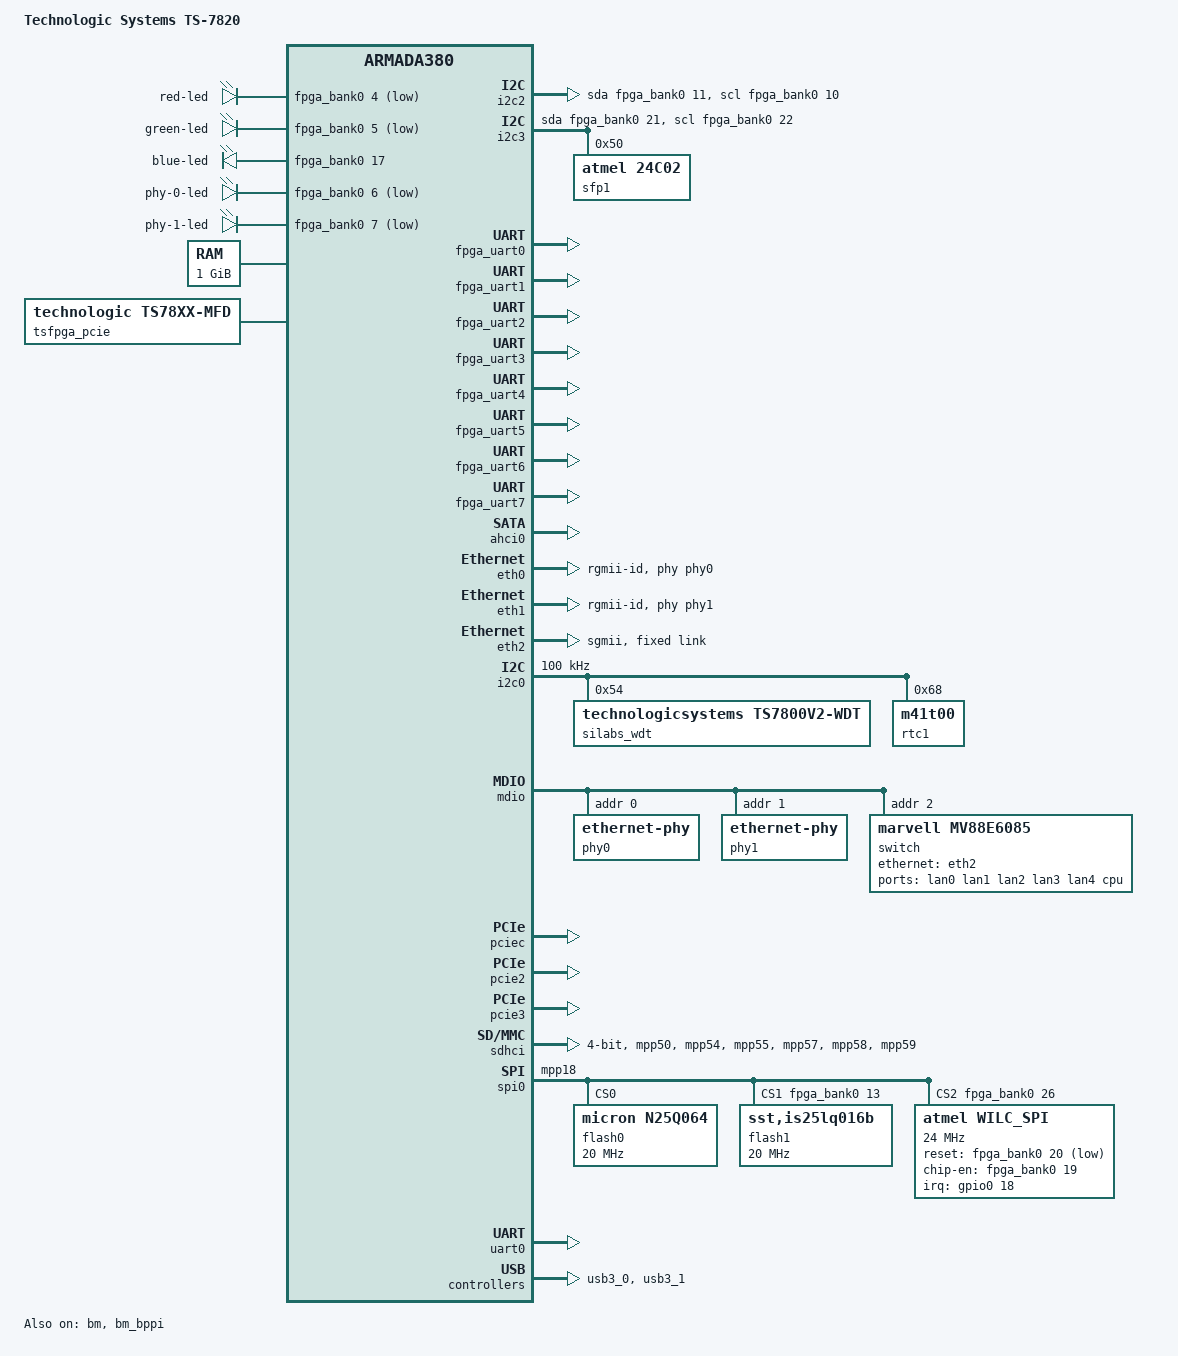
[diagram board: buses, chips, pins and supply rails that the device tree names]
/*
 * Device Tree file for Technologic Systems TS-7820
 *
 *  Copyright (C) 2017 Technologic Systems
 *
 * Mark Featherston <mark@embeddedarm.com>
 *
 * This file is dual-licensed: you can use it either under the terms
 * of the GPL or the X11 license, at your option. Note that this dual
 * licensing only applies to this file, and not this project as a
 * whole.
 *
 *  a) This file is licensed under the terms of the GNU General Public
 *     License version 2.  This program is licensed "as is" without
 *     any warranty of any kind, whether express or implied.
 *
 * Or, alternatively,
 *
 *  b) Permission is hereby granted, free of charge, to any person
 *     obtaining a copy of this software and associated documentation
 *     files (the "Software"), to deal in the Software without
 *     restriction, including without limitation the rights to use,
 *     copy, modify, merge, publish, distribute, sublicense, and/or
 *     sell copies of the Software, and to permit persons to whom the
 *     Software is furnished to do so, subject to the following
 *     conditions:
 *
 *     The above copyright notice and this permission notice shall be
 *     included in all copies or substantial portions of the Software.
 *
 *     THE SOFTWARE IS PROVIDED "AS IS", WITHOUT WARRANTY OF ANY KIND,
 *     EXPRESS OR IMPLIED, INCLUDING BUT NOT LIMITED TO THE WARRANTIES
 *     OF MERCHANTABILITY, FITNESS FOR A PARTICULAR PURPOSE AND
 *     NONINFRINGEMENT. IN NO EVENT SHALL THE AUTHORS OR COPYRIGHT
 *     HOLDERS BE LIABLE FOR ANY CLAIM, DAMAGES OR OTHER LIABILITY,
 *     WHETHER IN AN ACTION OF CONTRACT, TORT OR OTHERWISE, ARISING
 *     FROM, OUT OF OR IN CONNECTION WITH THE SOFTWARE OR THE USE OR
 *     OTHER DEALINGS IN THE SOFTWARE.
 */

/dts-v1/;
#include "armada-385.dtsi"

#include <dt-bindings/gpio/gpio.h>

/ {
	model = "Technologic Systems TS-7820";
	compatible = "technologic,a385-ts7820", "marvell,armada385", "marvell,armada380";

	aliases {
		/* So that mvebu u-boot can update the MAC addresses */
		ethernet1 = &eth0;
		ethernet2 = &eth1;
		ethernet3 = &eth2;
	};

	chosen {
		stdout-path = "serial0:115200n8";
	};

	i2c2: m2-i2c {
		compatible = "i2c-gpio";
		status = "okay";
		gpios = <&fpga_bank0 11 0>, /* sda */
			<&fpga_bank0 10 0>; /* scl */
		#address-cells = <1>;
		#size-cells = <0>;
	};

	i2c3: sfp-i2c {
		compatible = "i2c-gpio";
		status = "okay";
		gpios = <&fpga_bank0 21 0>, /* sda */
			<&fpga_bank0 22 0>; /* scl */
		#address-cells = <1>;
		#size-cells = <0>;

		sfp1: at24c04@50 {
			compatible = "atmel,24c02";
			reg = <0x50>;
		};
	};

	leds {
		compatible = "gpio-leds";

		red-led {
			label = "red-led";
			gpios = <&fpga_bank0 4 GPIO_ACTIVE_LOW>;
			default-state = "off";
		};

		green-led {
			label = "green-led";
			gpios = <&fpga_bank0 5 GPIO_ACTIVE_LOW>;
			default-state = "on";
		};

		blue-led {
			label = "blue-led";
			gpios = <&fpga_bank0 17 GPIO_ACTIVE_HIGH>;
			default-state = "off";
		};

		phy_0_led {
			label = "phy-0-led";
			gpios = <&fpga_bank0 6 GPIO_ACTIVE_LOW>;
			linux,default-trigger = "f1072004.mdio-mii:00:1Gbps";
		};

		phy_1_led {
			label = "phy-1-led";
			gpios = <&fpga_bank0 7 GPIO_ACTIVE_LOW>;
			linux,default-trigger = "f1072004.mdio-mii:01:1Gbps";
		};
	};

	memory {
		device_type = "memory";
		reg = <0x00000000 0x40000000>; /* 1024 MB */
	};

	soc {
		ranges = <MBUS_ID(0xf0, 0x01) 0 0xf1000000 0x100000
			  MBUS_ID(0x01, 0x1d) 0 0xfff00000 0x100000
			  MBUS_ID(0x09, 0x19) 0 0xf1100000 0x10000
			  MBUS_ID(0x09, 0x15) 0 0xf1110000 0x10000
			  MBUS_ID(0x0c, 0x04) 0 0xf1200000 0x100000>;

		internal-regs {
			/* We use M41T100 instead, not SOC RTC */
			rtc@a3800 {
				status = "disabled";
			};
		};
	};

	tsfpga_pcie: tsfpga-pcie {
		compatible = "technologic,ts78xx-mfd";
		#address-cells = <1>;
		#size-cells = <1>;

		interrupt-controller;
		#interrupt-cells = <1>;

		// Ideally this should be under the pcie bus 3 node
		// and sub devices could specify regs within these ranges
		// but it doesn't seem this works.
		ranges = <0 0xe4080000 0x1000>; // BAR0

		fpga_bank0: ts7820-gpio@0 {
			compatible = "technologic,ts7820-gpio";
			gpio-controller;
			#gpio-cells = <2>;
			reg = <0x0 0x10>;
			status = "okay";
		};

		fpga_uart0: fpga-uart0 {
			compatible = "ns16550a";
			reg = <0x80 8>;
			interrupt-parent = <&tsfpga_pcie>;
			interrupts = <0 IRQ_TYPE_EDGE_RISING>;
			clock-frequency = <1843200>;
			reg-io-width = <1>;
		};

		fpga_uart1: fpga-uart1 {
			compatible = "ns16550a";
			reg = <0x88 8>;
			interrupt-parent = <&tsfpga_pcie>;
			interrupts = <1 IRQ_TYPE_EDGE_RISING>;
			clock-frequency = <1843200>;
			reg-io-width = <1>;
		};

		fpga_uart2: fpga-uart2 {
			compatible = "ns16550a";
			reg = <0x90 8>;
			interrupt-parent = <&tsfpga_pcie>;
			interrupts = <2 IRQ_TYPE_EDGE_RISING>;
			clock-frequency = <1843200>;
			reg-io-width = <1>;
		};

		fpga_uart3: fpga-uart3 {
			compatible = "ns16550a";
			reg = <0x98 8>;
			interrupt-parent = <&tsfpga_pcie>;
			interrupts = <3 IRQ_TYPE_EDGE_RISING>;
			clock-frequency = <1843200>;
			reg-io-width = <1>;
		};

		fpga_uart4: fpga-uart4 {
			compatible = "ns16550a";
			reg = <0xa0 8>;
			interrupt-parent = <&tsfpga_pcie>;
			interrupts = <4 IRQ_TYPE_EDGE_RISING>;
			clock-frequency = <1843200>;
			reg-io-width = <1>;
		};

		fpga_uart5: fpga-uart5 {
			compatible = "ns16550a";
			reg = <0xa8 8>;
			interrupt-parent = <&tsfpga_pcie>;
			interrupts = <5 IRQ_TYPE_EDGE_RISING>;
			clock-frequency = <1843200>;
			reg-io-width = <1>;
		};

		fpga_uart6: fpga-uart6 {
			compatible = "ns16550a";
			reg = <0xb0 8>;
			interrupt-parent = <&tsfpga_pcie>;
			interrupts = <6 IRQ_TYPE_EDGE_RISING>;
			clock-frequency = <1843200>;
			reg-io-width = <1>;
		};

		fpga_uart7: fpga-uart7 {
			compatible = "ns16550a";
			reg = <0xb8 8>;
			interrupt-parent = <&tsfpga_pcie>;
			interrupts = <7 IRQ_TYPE_EDGE_RISING>;
			clock-frequency = <1843200>;
			reg-io-width = <1>;
		};
	};
};

&ahci0 {
	status = "okay";
};

&bm {
	status = "okay";
};

&bm_bppi {
	status = "okay";
};

/* magjack/sfp port 0 */
&eth0 {
	pinctrl-names = "default";
	pinctrl-0 = <&ge0_rgmii_pins>;
	status = "okay";
	phy = <&phy0>;
	phy-mode = "rgmii-id";
	buffer-manager = <&bm>;
	bm,pool-long = <0>;
	bm,pool-short = <1>;
};

/* magjack/sfgp port 1 */
&eth1 {
	pinctrl-names = "default";
	pinctrl-0 = <&ge1_rgmii_pins>;
	status = "okay";
	phy = <&phy1>;
	phy-mode = "rgmii-id";
	bm,pool-long = <2>;
	bm,pool-short = <1>;
	buffer-manager = <&bm>;
};

/* sgmii port to eth switch */
&eth2 {
	status = "okay";
	phy-mode = "sgmii";
	bm,pool-long = <3>;
	bm,pool-short = <1>;
	buffer-manager = <&bm>;

	fixed-link {
		speed = <1000>;
		full-duplex;
	};
};

&i2c0 {
	pinctrl-names = "default";
	pinctrl-0 = <&i2c0_pins>;
	clock-frequency = <100000>;
	status = "okay";

	silabs_wdt: silabs-wdt@54 {
		compatible = "technologicsystems,ts7800v2-wdt";
		reg = <0x54>;
		status = "okay";
	};

	rtc1: m41t00s@68 {
		compatible = "m41t00";
		reg = <0x68>;
	};
};

&mdio {
	pinctrl-names = "default";
	pinctrl-0 = <&mdio_pins>;

	phy0: ethernet-phy@0 {
		reg = <0>;
		/* Configure LED[0] to blink for activity */
		marvell,reg-init = <3 16 0 0x1aa4>;
	};

	phy1: ethernet-phy@1 {
		reg = <1>;
		/* Configure LED[0] to blink for activity */
		marvell,reg-init = <3 16 0 0x1aa4>;
	};

	switch@2 {
		compatible = "marvell,mv88e6085";
		#address-cells = <1>;
		#size-cells = <0>;
		dsa,member = <0 0>;
		reg = <2>;

		ports {
			#address-cells = <1>;
			#size-cells = <0>;

			ports@0 {
				reg = <0>;
				label = "lan0";
			};

			ports@1 {
				reg = <1>;
				label = "lan1";
			};

			ports@2 {
				reg = <2>;
				label = "lan2";
			};

			ports@3 {
				reg = <3>;
				label = "lan3";
			};

			ports@4 {
				reg = <4>;
				label = "lan4";
			};

			port@5 {
				reg = <5>;
				label = "cpu";
				ethernet = <&eth2>;
				fixed-link {
					speed = <1000>;
					full-duplex;
				};
			};
		};
	};
};

&pciec {
	status = "okay";
};

&pcie2 {
	status = "okay";
};

&pcie3 {
	status = "okay";
};

&pinctrl {
	sdhci_pins0: sdhci-pins0 {
		marvell,pins = "mpp50", "mpp54", "mpp55",
			       "mpp57", "mpp58", "mpp59";
		marvell,function = "sd0";
	};

	wifi_gpio_pins: wifi-gpio-pins {
		marvell,pins = "mpp18"; /* WIFI_IRQ */
		marvell,function = "gpio";
		bias-pull-up;
	};
};

&sdhci {
	bus-width = <4>;
	no-1-8-v;
	pinctrl-0 = <&sdhci_pins0>;
	pinctrl-names = "default";
	status = "okay";
};	

&spi0 {
	pinctrl-names = "default";
	pinctrl-0 = <&spi0_pins>, <&wifi_gpio_pins>;
	status = "okay";
	u-boot,dm-pre-reloc;
	num-cs = <3>;
	cs-gpios = <0>, <&fpga_bank0 13 0>, <&fpga_bank0 26 0>;

	/* Development boot flash.  Not onboard. */
	flash0: n25q064@0 {
		compatible = "micron,n25q064", "jedec,spi-nor";
		spi-max-frequency = <20000000>;
		reg = <0>;
		u-boot,dm-pre-reloc;
	};

	/* FPGA Flash */
	flash1: is25lq016b@1 {
		compatible = "sst,is25lq016b,", "jedec,spi-nor";
		spi-max-frequency = <20000000>;
		reg = <1>;
		u-boot,dm-pre-reloc;
	};

	wilc_spi@0 {
		compatible = "atmel,wilc_spi";
		reg = <2>;
		spi-max-frequency = <24000000>;
		wilc3000,reset-gpios = <&fpga_bank0 20 GPIO_ACTIVE_LOW>;
		wilc3000,chip-en-gpios = <&fpga_bank0 19 GPIO_ACTIVE_HIGH>;
		wilc3000,irq-gpios = <&gpio0 18 0>;
		status = "okay";
	};
};

&uart0 {
	pinctrl-0 = <&uart0_pins>;
	pinctrl-names = "default";
	status = "okay";
	u-boot,dm-pre-reloc;
};

/* We use external watchdog */
&watchdog {
	status = "disabled";	
};

&usb3_0 {
	status = "okay";	
};

&usb3_1 {
	status = "okay";	
};
